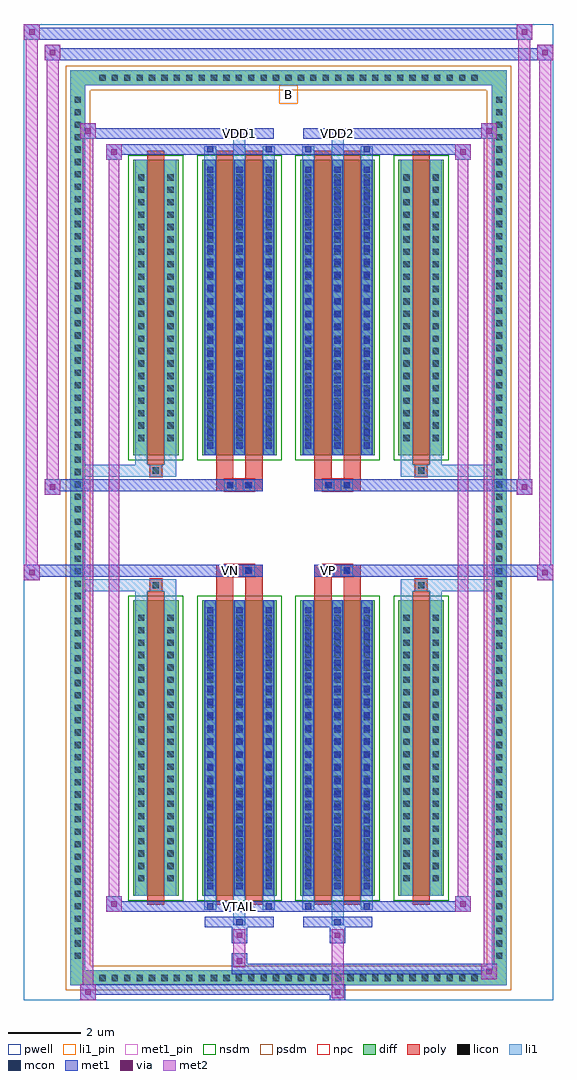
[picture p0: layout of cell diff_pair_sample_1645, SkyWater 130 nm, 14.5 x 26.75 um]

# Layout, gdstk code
import gdstk
lib = gdstk.Library(unit=1e-6, precision=5e-09)
def R(c, l, rs):  # rectangles x0, y0, x1, y1
    for r in rs: c.add(gdstk.rectangle(r[:2], r[2:], *l))
def A(c, l, x, y, w, h, nx, ny, dx, dy):  # array of equal rectangles
    R(c, l, [(x+i*dx, y+j*dy, x+i*dx+w, y+j*dy+h) for i in range(nx) for j in range(ny)])
def P(c, l, *ps):  # polygons
    for p in ps: c.add(gdstk.Polygon(p, *l))
pwell = (64, 44)
diff = (65, 20)
poly = (66, 20)
licon = (66, 44)
li1_pin = (67, 16)
li1 = (67, 20)
mcon = (67, 44)
met1_pin = (68, 16)
met1 = (68, 20)
via = (68, 44)
met2 = (69, 20)
nsdm = (93, 44)
psdm = (94, 20)
npc = (95, 20)

diff_pair_sample_1645 = lib.new_cell('diff_pair_sample_1645')
R(diff_pair_sample_1645, pwell, [(-7.25,-12.94,7.25,13.81), (-4.57,-11.13,-0.01,-0.805), (0.01,-11.13,4.57,-0.805), (-4.57,0.805,-0.01,11.13), (0.01,0.805,4.57,11.13)])
A(diff_pair_sample_1645, diff, -5.305, -12.54, 0.41, 0.41, 31, 2, 0.34, 24.67)
A(diff_pair_sample_1645, diff, -5.98, -11.935, 0.41, 0.41, 1, 70, 0, 0.34)
A(diff_pair_sample_1645, diff, 5.57, -11.935, 0.41, 0.41, 1, 70, 0, 0.34)
R(diff_pair_sample_1645, diff, [(-5.305,-12.54,5.305,-12.13), (-5.98,-11.935,-5.57,11.935), (5.57,-11.935,5.98,11.935), (-4.26,-10.085,-3.01,-1.985), (-2.37,-10.085,-0.32,-1.985), (0.32,-10.085,2.37,-1.985), (3.01,-10.085,4.26,-1.985), (-4.26,1.985,-3.01,10.085), (-2.37,1.985,-0.32,10.085), (0.32,1.985,2.37,10.085), (3.01,1.985,4.26,10.085), (-5.305,12.13,5.305,12.54)])
P(diff_pair_sample_1645, diff, [(5.98,12.54),(-5.98,12.54),(-5.98,-12.13),(-5.57,-12.13),(-5.57,12.13),(5.57,12.13),(5.57,-12.13),(-5.57,-12.13),(-5.98,-12.13),(-5.98,-12.54),(5.98,-12.54)])
R(diff_pair_sample_1645, poly, [(-3.87,-10.335,-3.4,-1.735), (-1.98,-10.335,-1.51,-1.735), (-1.18,-10.335,-0.71,-1.735), (0.71,-10.335,1.18,-1.735), (1.51,-10.335,1.98,-1.735), (3.4,-10.335,3.87,-1.735), (-3.8,-1.735,-3.47,-1.405), (-3.8,-1.735,-3.47,-1.405), (-1.98,-1.735,-1.51,-1.335), (-1.18,-1.735,-0.71,-1.335), (0.71,-1.735,1.18,-1.335), (1.51,-1.735,1.98,-1.335), (3.47,-1.735,3.8,-1.405), (3.47,-1.735,3.8,-1.405), (-1.98,-1.335,-0.71,-1.005), (-1.76,-1.335,-1.43,-1.005), (-1.26,-1.335,-0.93,-1.005), (0.71,-1.335,1.98,-1.005), (0.93,-1.335,1.26,-1.005), (1.43,-1.335,1.76,-1.005), (-1.98,1.005,-0.71,1.335), (-1.76,1.005,-1.43,1.335), (-1.26,1.005,-0.93,1.335), (0.71,1.005,1.98,1.335), (0.93,1.005,1.26,1.335), (1.43,1.005,1.76,1.335), (-1.98,1.335,-1.51,1.735), (-1.18,1.335,-0.71,1.735), (0.71,1.335,1.18,1.735), (1.51,1.335,1.98,1.735), (-3.8,1.405,-3.47,1.735), (-3.8,1.405,-3.47,1.735), (3.47,1.405,3.8,1.735), (3.47,1.405,3.8,1.735), (-3.87,1.735,-3.4,10.335), (-1.98,1.735,-1.51,10.335), (-1.18,1.735,-0.71,10.335), (0.71,1.735,1.18,10.335), (1.51,1.735,1.98,10.335), (3.4,1.735,3.87,10.335)])
A(diff_pair_sample_1645, licon, -5.185, -12.42, 0.17, 0.17, 31, 2, 0.34, 24.67)
A(diff_pair_sample_1645, licon, -5.86, -11.815, 0.17, 0.17, 1, 70, 0, 0.34)
A(diff_pair_sample_1645, licon, 5.69, -11.815, 0.17, 0.17, 1, 70, 0, 0.34)
A(diff_pair_sample_1645, licon, -4.12, -9.69, 0.17, 0.17, 1, 22, 0, 0.34)
A(diff_pair_sample_1645, licon, -3.32, -9.69, 0.17, 0.17, 1, 22, 0, 0.34)
A(diff_pair_sample_1645, licon, -2.23, -9.69, 0.17, 0.17, 3, 22, 0.8, 0.34)
A(diff_pair_sample_1645, licon, 0.46, -9.69, 0.17, 0.17, 3, 22, 0.8, 0.34)
A(diff_pair_sample_1645, licon, 3.15, -9.69, 0.17, 0.17, 1, 22, 0, 0.34)
A(diff_pair_sample_1645, licon, 3.95, -9.69, 0.17, 0.17, 1, 22, 0, 0.34)
A(diff_pair_sample_1645, licon, -4.12, 2.38, 0.17, 0.17, 1, 22, 0, 0.34)
A(diff_pair_sample_1645, licon, -3.32, 2.38, 0.17, 0.17, 1, 22, 0, 0.34)
A(diff_pair_sample_1645, licon, -2.23, 2.38, 0.17, 0.17, 3, 22, 0.8, 0.34)
A(diff_pair_sample_1645, licon, 0.46, 2.38, 0.17, 0.17, 3, 22, 0.8, 0.34)
A(diff_pair_sample_1645, licon, 3.15, 2.38, 0.17, 0.17, 1, 22, 0, 0.34)
A(diff_pair_sample_1645, licon, 3.95, 2.38, 0.17, 0.17, 1, 22, 0, 0.34)
R(diff_pair_sample_1645, licon, [(-3.72,-1.655,-3.55,-1.485), (3.55,-1.655,3.72,-1.485), (-1.68,-1.255,-1.51,-1.085), (-1.18,-1.255,-1.01,-1.085), (1.01,-1.255,1.18,-1.085), (1.51,-1.255,1.68,-1.085), (-1.68,1.085,-1.51,1.255), (-1.18,1.085,-1.01,1.255), (1.01,1.085,1.18,1.255), (1.51,1.085,1.68,1.255), (-3.72,1.485,-3.55,1.655), (3.55,1.485,3.72,1.655)])
R(diff_pair_sample_1645, li1_pin, [(-0.25,11.63,0.25,12.13)])
A(diff_pair_sample_1645, li1, -5.265, -12.5, 0.33, 0.33, 31, 2, 0.34, 24.67)
A(diff_pair_sample_1645, li1, -5.94, -11.895, 0.33, 0.33, 1, 70, 0, 0.34)
A(diff_pair_sample_1645, li1, 5.61, -11.895, 0.33, 0.33, 1, 70, 0, 0.34)
A(diff_pair_sample_1645, li1, -2.31, -10.085, 0.33, 8.1, 3, 2, 0.8, 12.07)
A(diff_pair_sample_1645, li1, 0.38, -10.085, 0.33, 8.1, 3, 2, 0.8, 12.07)
A(diff_pair_sample_1645, li1, -2.23, -9.9, 0.17, 0.17, 3, 22, 0.8, 0.36)
A(diff_pair_sample_1645, li1, -2.23, -9.9, 0.17, 7.73, 3, 2, 0.8, 12.07)
A(diff_pair_sample_1645, li1, 0.46, -9.9, 0.17, 0.17, 3, 22, 0.8, 0.36)
A(diff_pair_sample_1645, li1, 0.46, -9.9, 0.17, 7.73, 3, 2, 0.8, 12.07)
A(diff_pair_sample_1645, li1, -4.2, -9.77, 0.33, 0.33, 1, 22, 0, 0.34)
A(diff_pair_sample_1645, li1, -3.4, -9.77, 0.33, 0.33, 1, 22, 0, 0.34)
A(diff_pair_sample_1645, li1, -2.31, -9.77, 0.33, 0.33, 3, 22, 0.8, 0.34)
A(diff_pair_sample_1645, li1, 0.38, -9.77, 0.33, 0.33, 3, 22, 0.8, 0.34)
A(diff_pair_sample_1645, li1, 3.07, -9.77, 0.33, 0.33, 1, 22, 0, 0.34)
A(diff_pair_sample_1645, li1, 3.87, -9.77, 0.33, 0.33, 1, 22, 0, 0.34)
A(diff_pair_sample_1645, li1, -2.23, 2.17, 0.17, 0.17, 3, 22, 0.8, 0.36)
A(diff_pair_sample_1645, li1, 0.46, 2.17, 0.17, 0.17, 3, 22, 0.8, 0.36)
A(diff_pair_sample_1645, li1, -4.2, 2.3, 0.33, 0.33, 1, 22, 0, 0.34)
A(diff_pair_sample_1645, li1, -3.4, 2.3, 0.33, 0.33, 1, 22, 0, 0.34)
A(diff_pair_sample_1645, li1, -2.31, 2.3, 0.33, 0.33, 3, 22, 0.8, 0.34)
A(diff_pair_sample_1645, li1, 0.38, 2.3, 0.33, 0.33, 3, 22, 0.8, 0.34)
A(diff_pair_sample_1645, li1, 3.07, 2.3, 0.33, 0.33, 1, 22, 0, 0.34)
A(diff_pair_sample_1645, li1, 3.87, 2.3, 0.33, 0.33, 1, 22, 0, 0.34)
R(diff_pair_sample_1645, li1, [(-5.98,-12.54,-5.57,-12.13), (-5.98,-12.54,-5.57,-12.13), (-5.57,-12.54,5.57,-12.13), (5.57,-12.54,5.98,-12.13), (5.57,-12.54,5.98,-12.13), (-5.98,-12.13,-5.57,12.13), (5.57,-12.13,5.98,12.13), (-1.51,-10.89,-1.18,-10.085), (-1.43,-10.89,-1.26,-10.72), (1.18,-10.89,1.51,-10.085), (1.26,-10.89,1.43,-10.72), (-2.31,-10.46,-1.98,-10.085), (-2.23,-10.46,-2.06,-10.29), (-0.71,-10.46,-0.38,-10.085), (-0.63,-10.46,-0.46,-10.29), (0.38,-10.46,0.71,-10.085), (0.46,-10.46,0.63,-10.29), (1.98,-10.46,2.31,-10.085), (2.06,-10.46,2.23,-10.29), (-4.2,-10.085,-3.87,-1.985), (-3.4,-10.085,-3.07,-1.985), (3.07,-10.085,3.4,-1.985), (3.87,-10.085,4.2,-1.985), (-4.2,-1.985,-3.87,-1.405), (-3.4,-1.985,-3.07,-1.405), (3.07,-1.985,3.4,-1.405), (3.87,-1.985,4.2,-1.405), (-5.98,-1.735,-3.8,-1.405), (-4.2,-1.735,-3.8,-1.405), (-3.8,-1.735,-3.47,-1.405), (-3.47,-1.735,-3.07,-1.405), (3.07,-1.735,3.47,-1.405), (3.47,-1.735,3.8,-1.405), (3.47,-1.735,5.98,-1.405), (3.8,-1.735,4.2,-1.405), (-1.76,-1.335,-1.43,-1.005), (-1.26,-1.335,-0.93,-1.005), (0.93,-1.335,1.26,-1.005), (1.43,-1.335,1.76,-1.005), (-1.76,1.005,-1.43,1.335), (-1.26,1.005,-0.93,1.335), (0.93,1.005,1.26,1.335), (1.43,1.005,1.76,1.335), (-5.98,1.405,-3.8,1.735), (-4.2,1.405,-3.8,1.735), (-4.2,1.405,-3.87,1.985), (-3.8,1.405,-3.47,1.735), (-3.47,1.405,-3.07,1.735), (-3.4,1.405,-3.07,1.985), (3.07,1.405,3.47,1.735), (3.07,1.405,3.4,1.985), (3.47,1.405,3.8,1.735), (3.47,1.405,5.98,1.735), (3.8,1.405,4.2,1.735), (3.87,1.405,4.2,1.985), (-4.2,1.985,-3.87,10.085), (-3.4,1.985,-3.07,10.085), (3.07,1.985,3.4,10.085), (3.87,1.985,4.2,10.085), (-2.31,10.085,-1.98,10.46), (-1.51,10.085,-1.18,10.89), (-0.71,10.085,-0.38,10.46), (0.38,10.085,0.71,10.46), (1.18,10.085,1.51,10.89), (1.98,10.085,2.31,10.46), (-2.23,10.29,-2.06,10.46), (-0.63,10.29,-0.46,10.46), (0.46,10.29,0.63,10.46), (2.06,10.29,2.23,10.46), (-1.43,10.72,-1.26,10.89), (1.26,10.72,1.43,10.89), (-5.98,12.13,-5.57,12.54), (-5.98,12.13,-5.57,12.54), (-5.57,12.13,5.57,12.54), (5.57,12.13,5.98,12.54), (5.57,12.13,5.98,12.54)])
A(diff_pair_sample_1645, mcon, -2.23, -9.9, 0.17, 0.17, 3, 22, 0.8, 0.36)
A(diff_pair_sample_1645, mcon, 0.46, -9.9, 0.17, 0.17, 3, 22, 0.8, 0.36)
A(diff_pair_sample_1645, mcon, -2.23, 2.17, 0.17, 0.17, 3, 22, 0.8, 0.36)
A(diff_pair_sample_1645, mcon, 0.46, 2.17, 0.17, 0.17, 3, 22, 0.8, 0.36)
R(diff_pair_sample_1645, mcon, [(-1.43,-10.89,-1.26,-10.72), (1.26,-10.89,1.43,-10.72), (-2.23,-10.46,-2.06,-10.29), (-0.63,-10.46,-0.46,-10.29), (0.46,-10.46,0.63,-10.29), (2.06,-10.46,2.23,-10.29), (-1.68,-1.255,-1.51,-1.085), (-1.18,-1.255,-1.01,-1.085), (1.01,-1.255,1.18,-1.085), (1.51,-1.255,1.68,-1.085), (-1.68,1.085,-1.51,1.255), (-1.18,1.085,-1.01,1.255), (1.01,1.085,1.18,1.255), (1.51,1.085,1.68,1.255), (-2.23,10.29,-2.06,10.46), (-0.63,10.29,-0.46,10.46), (0.46,10.29,0.63,10.46), (2.06,10.29,2.23,10.46), (-1.43,10.72,-1.26,10.89), (1.26,10.72,1.43,10.89)])
R(diff_pair_sample_1645, met1_pin, [(-1.48,-10.5,-1.21,-10.23), (-1.73,-1.295,-1.46,-1.025), (0.96,-1.295,1.23,-1.025), (-1.48,10.68,-1.21,10.95), (1.21,10.68,1.48,10.95)])
A(diff_pair_sample_1645, met1, -2.29, -10.085, 0.29, 8.1, 3, 2, 0.8, 12.07)
A(diff_pair_sample_1645, met1, 0.4, -10.085, 0.29, 8.1, 3, 2, 0.8, 12.07)
A(diff_pair_sample_1645, met1, -2.29, -9.96, 0.29, 0.29, 3, 22, 0.8, 0.36)
A(diff_pair_sample_1645, met1, 0.4, -9.96, 0.29, 0.29, 3, 22, 0.8, 0.36)
A(diff_pair_sample_1645, met1, -2.29, 2.11, 0.29, 0.29, 3, 22, 0.8, 0.36)
A(diff_pair_sample_1645, met1, 0.4, 2.11, 0.29, 0.29, 3, 22, 0.8, 0.36)
R(diff_pair_sample_1645, met1, [(-5.71,-12.94,-5.28,-12.51), (1.13,-12.94,1.56,-12.51), (-5.71,-12.8,1.56,-12.51), (5.28,-12.37,5.71,-11.94), (-1.56,-12.23,5.71,-11.94), (-1.56,-12.09,-1.13,-11.66), (-1.56,-11.38,-1.13,-10.95), (1.13,-11.38,1.56,-10.95), (-2.29,-10.95,-0.4,-10.66), (-1.49,-10.95,-1.2,-10.66), (0.4,-10.95,2.29,-10.66), (1.2,-10.95,1.49,-10.66), (-5,-10.52,-4.57,-10.09), (-5,-10.52,-2.29,-10.23), (-2.29,-10.52,-2,-10.23), (-2.29,-10.52,-0.4,-10.23), (-0.69,-10.52,-0.4,-10.23), (-0.4,-10.52,0.4,-10.23), (0.4,-10.52,0.69,-10.23), (0.4,-10.52,2.29,-10.23), (2,-10.52,2.29,-10.23), (2.29,-10.52,5,-10.23), (4.57,-10.52,5,-10.09), (-7.25,-1.435,-6.82,-1.005), (6.82,-1.435,7.25,-1.005), (-7.25,-1.335,-0.71,-1.005), (-1.98,-1.335,-0.71,-1.005), (0.71,-1.335,1.98,-1.005), (0.71,-1.335,7.25,-1.005), (-1.74,-1.315,-1.45,-1.025), (-1.24,-1.315,-0.95,-1.025), (0.95,-1.315,1.24,-1.025), (1.45,-1.315,1.74,-1.025), (-6.68,0.905,-6.25,1.335), (6.25,0.905,6.68,1.335), (-6.68,1.005,-1.98,1.335), (-1.98,1.005,-0.71,1.335), (0.71,1.005,1.98,1.335), (1.98,1.005,6.68,1.335), (-1.74,1.025,-1.45,1.315), (-1.24,1.025,-0.95,1.315), (0.95,1.025,1.24,1.315), (1.45,1.025,1.74,1.315), (-5,10.09,-4.57,10.52), (4.57,10.09,5,10.52), (-5,10.23,-2.29,10.52), (-2.29,10.23,-2,10.52), (-2.29,10.23,-0.4,10.52), (-0.69,10.23,-0.4,10.52), (-0.4,10.23,0.4,10.52), (0.4,10.23,0.69,10.52), (0.4,10.23,2.29,10.52), (2,10.23,2.29,10.52), (2.29,10.23,5,10.52), (-5.71,10.66,-5.28,11.09), (-5.71,10.66,-2.29,10.95), (-2.29,10.66,-0.4,10.95), (-1.49,10.66,-1.2,10.95), (0.4,10.66,2.29,10.95), (1.2,10.66,1.49,10.95), (2.29,10.66,5.71,10.95), (5.28,10.66,5.71,11.09), (-6.68,12.81,-6.25,13.24), (-6.68,12.81,-4.57,13.14), (-4.57,12.81,4.57,13.14), (4.57,12.81,7.25,13.14), (6.82,12.81,7.25,13.24), (-7.25,13.38,-6.82,13.81), (-7.25,13.38,-4.57,13.71), (-4.57,13.38,4.57,13.71), (4.57,13.38,6.68,13.71), (6.25,13.38,6.68,13.81)])
R(diff_pair_sample_1645, via, [(-5.57,-12.8,-5.42,-12.65), (1.27,-12.8,1.42,-12.65), (5.42,-12.23,5.57,-12.08), (-1.42,-11.95,-1.27,-11.8), (-1.42,-11.24,-1.27,-11.09), (1.27,-11.24,1.42,-11.09), (-4.86,-10.38,-4.71,-10.23), (4.71,-10.38,4.86,-10.23), (-7.11,-1.295,-6.96,-1.145), (6.96,-1.295,7.11,-1.145), (-6.54,1.045,-6.39,1.195), (6.39,1.045,6.54,1.195), (-4.86,10.23,-4.71,10.38), (4.71,10.23,4.86,10.38), (-5.57,10.8,-5.42,10.95), (5.42,10.8,5.57,10.95), (-6.54,12.95,-6.39,13.1), (6.96,12.95,7.11,13.1), (-7.11,13.52,-6.96,13.67), (6.39,13.52,6.54,13.67)])
R(diff_pair_sample_1645, met2, [(-5.71,-12.94,-5.28,-12.51), (-5.64,-12.94,-5.35,11.09), (-5.35,-12.94,-5.28,-12.51), (-5.66,-12.89,-5.33,-12.56), (1.18,-12.89,1.51,-12.56), (1.18,-12.56,1.51,-11.33), (5.28,-12.37,5.71,-11.94), (5.35,-12.37,5.64,11.09), (5.64,-12.37,5.71,-11.94), (5.33,-12.32,5.66,-11.99), (-1.51,-12.04,-1.18,-11.71), (-1.51,-11.71,-1.18,-11.33), (-1.51,-11.33,-1.18,-11), (1.18,-11.33,1.51,-11), (-5,-10.52,-4.57,-10.09), (-4.93,-10.52,-4.64,10.52), (-4.64,-10.52,-4.57,-10.09), (4.57,-10.52,5,-10.09), (4.64,-10.52,4.93,10.52), (4.93,-10.52,5,-10.09), (-4.95,-10.47,-4.62,-10.14), (4.62,-10.47,4.95,-10.14), (-7.25,-1.435,-6.82,-1.005), (-7.2,-1.435,-6.87,13.81), (-6.87,-1.435,-6.82,-1.005), (6.82,-1.435,7.25,-1.005), (6.87,-1.435,7.2,13.24), (7.2,-1.435,7.25,-1.005), (-7.2,-1.385,-6.87,-1.055), (6.87,-1.385,7.2,-1.055), (-6.68,0.905,-6.25,1.335), (-6.63,0.905,-6.3,13.24), (-6.3,0.905,-6.25,1.335), (6.25,0.905,6.68,1.335), (6.3,0.905,6.63,13.81), (6.63,0.905,6.68,1.335), (-6.63,0.955,-6.3,1.285), (6.3,0.955,6.63,1.285), (-5,10.09,-4.57,10.52), (-4.64,10.09,-4.57,10.52), (4.57,10.09,5,10.52), (4.93,10.09,5,10.52), (-4.95,10.14,-4.62,10.47), (4.62,10.14,4.95,10.47), (-5.71,10.66,-5.28,11.09), (-5.35,10.66,-5.28,11.09), (5.28,10.66,5.71,11.09), (5.64,10.66,5.71,11.09), (-5.66,10.71,-5.33,11.04), (5.33,10.71,5.66,11.04), (-6.68,12.81,-6.25,13.24), (-6.3,12.81,-6.25,13.24), (6.82,12.81,7.25,13.24), (7.2,12.81,7.25,13.24), (-6.63,12.86,-6.3,13.19), (6.87,12.86,7.2,13.19), (-7.25,13.38,-6.82,13.81), (-6.87,13.38,-6.82,13.81), (6.25,13.38,6.68,13.81), (6.63,13.38,6.68,13.81), (-7.2,13.43,-6.87,13.76), (6.3,13.43,6.63,13.76)])
R(diff_pair_sample_1645, nsdm, [(-4.39,-10.215,-2.88,-1.855), (-2.5,-10.215,-0.19,-1.855), (0.19,-10.215,2.5,-1.855), (2.88,-10.215,4.39,-1.855), (-4.39,1.855,-2.88,10.215), (-2.5,1.855,-0.19,10.215), (0.19,1.855,2.5,10.215), (2.88,1.855,4.39,10.215)])
P(diff_pair_sample_1645, psdm, [(6.11,12.67),(-6.11,12.67),(-6.11,-12),(-5.44,-12),(-5.44,12),(5.44,12),(5.44,-12),(-5.44,-12),(-6.11,-12),(-6.11,-12.67),(6.11,-12.67)])
R(diff_pair_sample_1645, npc, [(-3.82,-1.755,-3.45,-1.385), (3.45,-1.755,3.82,-1.385), (-1.78,-1.355,-1.41,-0.985), (-1.78,-1.355,-0.91,-0.985), (-1.78,-1.355,-0.91,-0.985), (-1.28,-1.355,-0.91,-0.985), (0.91,-1.355,1.28,-0.985), (0.91,-1.355,1.78,-0.985), (0.91,-1.355,1.78,-0.985), (1.41,-1.355,1.78,-0.985), (-1.78,0.985,-1.41,1.355), (-1.78,0.985,-0.91,1.355), (-1.78,0.985,-0.91,1.355), (-1.28,0.985,-0.91,1.355), (0.91,0.985,1.28,1.355), (0.91,0.985,1.78,1.355), (0.91,0.985,1.78,1.355), (1.41,0.985,1.78,1.355), (-3.82,1.385,-3.45,1.755), (3.45,1.385,3.82,1.755)])
diff_pair_sample_1645.add(gdstk.Label('VTAIL', (-1.345,-10.365), layer=68, texttype=5))
diff_pair_sample_1645.add(gdstk.Label('VN', (-1.595,-1.16), layer=68, texttype=5))
diff_pair_sample_1645.add(gdstk.Label('VP', (1.095,-1.16), layer=68, texttype=5))
diff_pair_sample_1645.add(gdstk.Label('B', (0,11.88), layer=67, texttype=5))
diff_pair_sample_1645.add(gdstk.Label('VDD2', (1.345,10.815), layer=68, texttype=5))
diff_pair_sample_1645.add(gdstk.Label('VDD1', (-1.345,10.815), layer=68, texttype=5))

lib.write_gds('diff_pair_sample_1645.gds')
